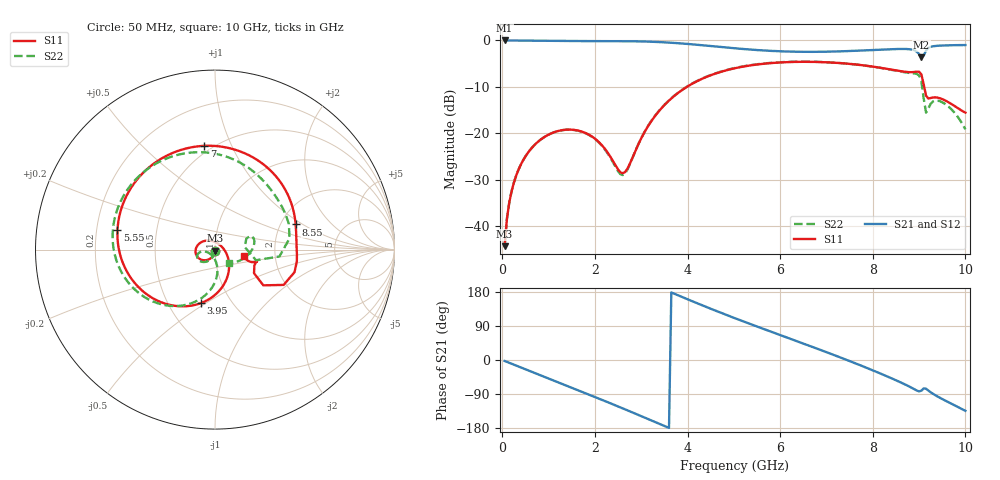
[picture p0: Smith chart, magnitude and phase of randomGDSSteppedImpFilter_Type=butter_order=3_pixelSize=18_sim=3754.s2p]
! freq	dB(S11)	phase(S11)	dB(S12)	phase(S12)
!  dB(S21)	phase(S21)	dB(S22)	phase(S22)
!S-par simulation data
#  GHz  S  DB  R 50
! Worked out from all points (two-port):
!   200 points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, 50 MHz to 10 GHz, reference 50 ohm
!   highest |S21| = 0.00 dB at 50 MHz (marker M1); lowest = -3.6 dB at 9.05 GHz (marker M2)
!   |S21| within 3 dB of the highest: start of sweep to 9.005 GHz; 9.112 GHz to end of sweep
!   lowest |S11| = -44.4 dB at 50 MHz (marker M3), VSWR 1.01, Z = 50 - j0.605 ohm
!   |S11| at or under -10 dB: start of sweep to 3.988 GHz; 9.11 GHz to end of sweep
!   |S22| runs from -44.3 to -4.6 dB; largest |S21 - S12| = 0
!   S11 on the Smith chart (normalised r, x): 50 MHz: 1.00, -0.01; 3.95 GHz: 0.72, -0.48; 5.55 GHz: 0.29, +0.09; 7 GHz: 0.45, +0.79; 8.55 GHz: 2.41, +0.87; 10 GHz: 1.38, -0.11
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0.05  -44.35 -91.2  -0.00 -2.5  -0.00 -2.5  -44.35 -90.7
0.1  -38.45 -94.7  -0.01 -5.0  -0.01 -5.0  -38.44 -93.7
0.2  -32.54 -100.8  -0.02 -9.9  -0.02 -9.9  -32.53 -98.9
0.55  -24.26 -120.4  -0.05 -27.0  -0.05 -27.0  -24.26 -115.0
1.1  -19.86 -150.8  -0.10 -53.7  -0.10 -53.7  -19.87 -138.6
1.75  -19.77 170.3  -0.14 -85.3  -0.14 -85.3  -19.81 -163.3
2.6  -28.64 53.7  -0.15 -127.6  -0.15 -127.6  -29.02 -129.5
3.4  -15.03 -68.8  -0.36 -168.8  -0.36 -168.8  -14.97 -89.7
3.95  -10.24 -104.6  -0.71 162.8  -0.71 162.8  -10.18 -110.7
4.5  -7.51 -136.2  -1.21 135.3  -1.21 135.3  -7.45 -133.8
5.05  -5.93 -165.7  -1.72 109.1  -1.72 109.1  -5.88 -156.5
5.55  -5.13 168.7  -2.10 86.1  -2.10 86.1  -5.07 -176.4
6.7  -4.62 111.0  -2.46 34.4  -2.46 34.4  -4.59 138.6
7  -4.71 95.8  -2.43 20.7  -2.43 20.7  -4.69 126.6
7.7  -5.26 60.2  -2.20 -12.4  -2.20 -12.4  -5.26 96.7
8.35  -6.20 27.4  -1.90 -45.3  -1.90 -45.3  -6.24 65.1
8.55  -6.54 17.4  -1.84 -56.1  -1.84 -56.1  -6.62 53.8
8.9  -6.80 -3.2  -2.13 -77.2  -2.13 -77.2  -7.13 26.2
9.05  -7.33 -27.2  -3.64 -80.9  -3.64 -80.9  -8.85 -6.1
9.15  -11.90 -31.2  -2.18 -75.9  -2.18 -75.9  -15.55 4.6
9.45  -12.46 -16.7  -1.12 -99.7  -1.12 -99.7  -13.10 8.8
10  -15.57 -13.0  -1.00 -134.0  -1.00 -134.0  -19.18 -43.9
